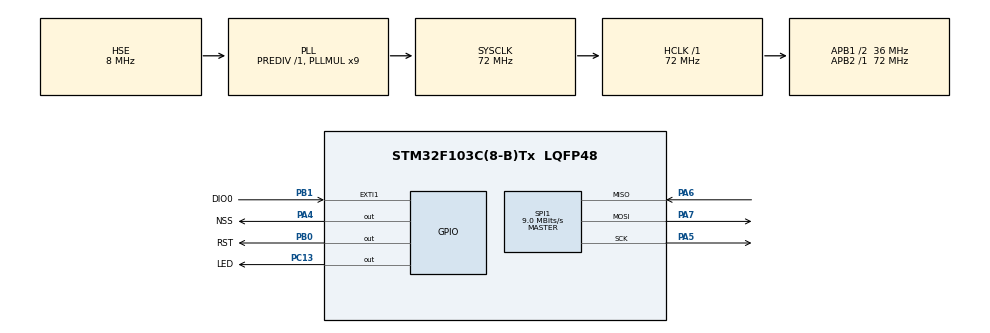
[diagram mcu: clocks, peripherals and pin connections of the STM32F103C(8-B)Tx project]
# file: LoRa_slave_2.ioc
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Mcu.Family=STM32F1
Mcu.Name=STM32F103C(8-B)Tx
Mcu.Package=LQFP48
NVIC.EXTI1_IRQn=true\:0\:0\:false\:false\:true\:true\:true\:true
NVIC.PriorityGroup=NVIC_PRIORITYGROUP_4
PA13.Mode=Serial_Wire
PA13.Signal=SYS_JTMS-SWDIO
PA14.Mode=Serial_Wire
PA14.Signal=SYS_JTCK-SWCLK
PA4.GPIO_Label=NSS
PA4.PinState=GPIO_PIN_SET
PA4.Signal=GPIO_Output
PA5.Mode=Full_Duplex_Master
PA5.Signal=SPI1_SCK
PA6.Mode=Full_Duplex_Master
PA6.Signal=SPI1_MISO
PA7.Mode=Full_Duplex_Master
PA7.Signal=SPI1_MOSI
PB0.GPIO_Label=RST
PB0.PinState=GPIO_PIN_SET
PB0.Signal=GPIO_Output
PB1.GPIO_Label=DIO0
PB1.Signal=GPXTI1
PC13-TAMPER-RTC.GPIO_Label=LED
PC13-TAMPER-RTC.Signal=GPIO_Output
PD0-OSC_IN.Mode=HSE-External-Oscillator
PD0-OSC_IN.Signal=RCC_OSC_IN
PD1-OSC_OUT.Mode=HSE-External-Oscillator
PD1-OSC_OUT.Signal=RCC_OSC_OUT
ProjectManager.HeapSize=0x200
ProjectManager.StackSize=0x400
ProjectManager.TargetToolchain=STM32CubeIDE
RCC.AHBFreq_Value=72000000
RCC.APB1CLKDivider=RCC_HCLK_DIV2
RCC.APB1Freq_Value=36000000
RCC.APB1TimFreq_Value=72000000
RCC.APB2Freq_Value=72000000
RCC.APB2TimFreq_Value=72000000
RCC.HCLKFreq_Value=72000000
RCC.PLLMUL=RCC_PLL_MUL9
RCC.PLLSourceVirtual=RCC_PLLSOURCE_HSE
RCC.SYSCLKFreq_VALUE=72000000
RCC.SYSCLKSource=RCC_SYSCLKSOURCE_PLLCLK
RCC.USBFreq_Value=72000000
SPI1.BaudRatePrescaler=SPI_BAUDRATEPRESCALER_8
SPI1.CalculateBaudRate=9.0 MBits/s
SPI1.Direction=SPI_DIRECTION_2LINES
SPI1.Mode=SPI_MODE_MASTER
SPI1.VirtualType=VM_MASTER
board=custom

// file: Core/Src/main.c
/* USER CODE BEGIN Header */
/**
  ******************************************************************************
  * @file           : main.c
  * @brief          : Main program body
  ******************************************************************************
  * @attention
  *
  * Copyright (c) 2024 STMicroelectronics.
  * All rights reserved.
  *
  * This software is licensed under terms that can be found in the LICENSE file
  * in the root directory of this software component.
  * If no LICENSE file comes with this software, it is provided AS-IS.
  *
  ******************************************************************************
  */
/* USER CODE END Header */
#include "main.h"
#include "spi.h"
#include "gpio.h"

/* USER CODE BEGIN Includes */
#include <stdlib.h>
#include "LoRa.h"
/* USER CODE END Includes */

/* USER CODE BEGIN PV */

LoRa myLoRa;
uint8_t read_data[128];
uint8_t send_data[128];
int			RSSI;
/* USER CODE END PV */

void SystemClock_Config(void);

int main(void)
{

  /* MCU Configuration--------------------------------------------------------*/

  /* Reset of all peripherals, Initializes the Flash interface and the Systick. */
  HAL_Init();

  /* Configure the system clock */
  SystemClock_Config();

  /* Initialize all configured peripherals */
  MX_GPIO_Init();
  MX_SPI1_Init();
  /* USER CODE BEGIN 2 */
  // MODULE SETTINGS ----------------------------------------------
  	myLoRa = newLoRa();

  	myLoRa.hSPIx                 = &hspi1;
  	myLoRa.CS_port               = NSS_GPIO_Port;
  	myLoRa.CS_pin                = NSS_Pin;
  	myLoRa.reset_port            = RST_GPIO_Port;
  	myLoRa.reset_pin             = RST_Pin;
  	myLoRa.DIO0_port						 = DIO0_GPIO_Port;
  	myLoRa.DIO0_pin							 = DIO0_Pin;

  	myLoRa.frequency             = 433;							  // default = 433 MHz
  	myLoRa.spredingFactor        = SF_7;							// default = SF_7
  	myLoRa.bandWidth			       = BW_125KHz;				  // default = BW_125KHz
  	myLoRa.crcRate				       = CR_4_5;						// default = CR_4_5
  	myLoRa.power					       = POWER_20db;				// default = 20db
  	myLoRa.overCurrentProtection = 120; 							// default = 100 mA
  	myLoRa.preamble				       = 10;		  					// default = 8;

  	LoRa_reset(&myLoRa);
  	LoRa_init(&myLoRa);

  	// START CONTINUOUS RECEIVING -----------------------------------
  	LoRa_startReceiving(&myLoRa);
  	//---------------------------------------------------------------
  /* USER CODE END 2 */

  /* Infinite loop */
  while (1)
  {

    /* USER CODE BEGIN 3 */
	  // SENDING DATA - - - - - - - - - - - - - - - - - - - - - - - - -
//	  		send_data[0] = 0x3B; // MY ADDRESS
//	  		for(int i=0; i<26; i++)
//	  			send_data[i+1] = 48+i;
//	  		LoRa_transmit(&myLoRa, send_data, 128, 500);
//	  		HAL_Delay(1500);

	  		// RECEIVING DATA - - - - - - - - - - - - - - - - - - - - - - - -
	  	  		LoRa_receive(&myLoRa, read_data, 128);
  }
  /* USER CODE END 3 */
}

void SystemClock_Config(void)
{
  RCC_OscInitTypeDef RCC_OscInitStruct = {0};
  RCC_ClkInitTypeDef RCC_ClkInitStruct = {0};

  /** Initializes the RCC Oscillators according to the specified parameters
  * in the RCC_OscInitTypeDef structure.
  */
  RCC_OscInitStruct.OscillatorType = RCC_OSCILLATORTYPE_HSE;
  RCC_OscInitStruct.HSEState = RCC_HSE_ON;
  RCC_OscInitStruct.HSEPredivValue = RCC_HSE_PREDIV_DIV1;
  RCC_OscInitStruct.HSIState = RCC_HSI_ON;
  RCC_OscInitStruct.PLL.PLLState = RCC_PLL_ON;
  RCC_OscInitStruct.PLL.PLLSource = RCC_PLLSOURCE_HSE;
  RCC_OscInitStruct.PLL.PLLMUL = RCC_PLL_MUL9;
  if (HAL_RCC_OscConfig(&RCC_OscInitStruct) != HAL_OK)
  {
    Error_Handler();
  }

  /** Initializes the CPU, AHB and APB buses clocks
  */
  RCC_ClkInitStruct.ClockType = RCC_CLOCKTYPE_HCLK|RCC_CLOCKTYPE_SYSCLK
                              |RCC_CLOCKTYPE_PCLK1|RCC_CLOCKTYPE_PCLK2;
  RCC_ClkInitStruct.SYSCLKSource = RCC_SYSCLKSOURCE_PLLCLK;
  RCC_ClkInitStruct.AHBCLKDivider = RCC_SYSCLK_DIV1;
  RCC_ClkInitStruct.APB1CLKDivider = RCC_HCLK_DIV2;
  RCC_ClkInitStruct.APB2CLKDivider = RCC_HCLK_DIV1;

  if (HAL_RCC_ClockConfig(&RCC_ClkInitStruct, FLASH_LATENCY_2) != HAL_OK)
  {
    Error_Handler();
  }
}

void Error_Handler(void)
{
  __disable_irq();
  while (1)
  {
  }
}
